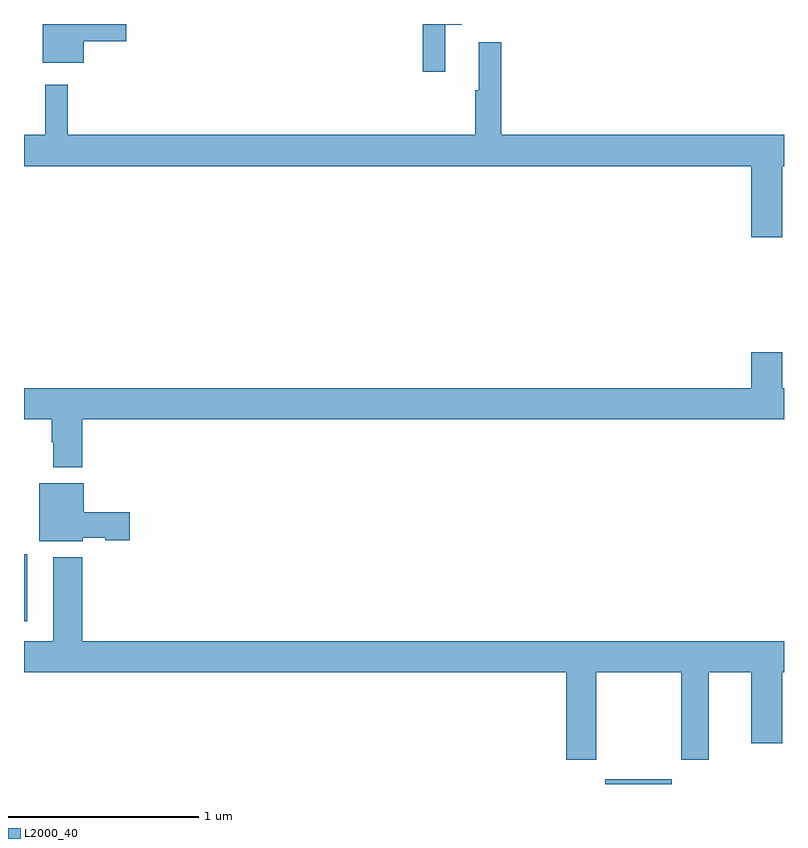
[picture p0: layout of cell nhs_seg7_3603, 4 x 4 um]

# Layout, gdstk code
import gdstk
lib = gdstk.Library(unit=1e-6, precision=1e-09)
def R(c, l, rs):  # rectangles x0, y0, x1, y1
    for r in rs: c.add(gdstk.rectangle(r[:2], r[2:], *l))
def P(c, l, *ps):  # polygons
    for p in ps: c.add(gdstk.Polygon(p, *l))
L2000_40 = (2000, 40)

nhs_seg7_3603 = lib.new_cell('nhs_seg7_3603')
R(nhs_seg7_3603, L2000_40, [(344.06,1028,344.41,1028.026), (341,1028.856,341.017,1029.208)])
P(nhs_seg7_3603, L2000_40, [(341.314,1031.909),(341.539,1031.909),(341.539,1032),(341.099,1032),(341.099,1031.795),(341.314,1031.795)],
  [(343.217,1031.996),(343.303,1031.996),(343.303,1032),(343.099,1032),(343.099,1031.748),(343.217,1031.748)],
  [(344.992,1031.252),(345,1031.252),(345,1031.416),(343.511,1031.416),(343.511,1031.905),(343.394,1031.905),(343.394,1031.652),(343.375,1031.652),(343.375,1031.416),(341.231,1031.416),(341.231,1031.68),(341.113,1031.68),(341.113,1031.416),(341,1031.416),(341,1031.252),(344.828,1031.252),(344.828,1030.878),(344.992,1030.878)],
  [(341.306,1029.92),(345,1029.92),(345,1030.084),(344.992,1030.084),(344.992,1030.273),(344.828,1030.273),(344.828,1030.084),(341,1030.084),(341,1029.92),(341.146,1029.92),(341.146,1029.8),(341.153,1029.8),(341.153,1029.668),(341.306,1029.668)],
  [(341.31,1029.296),(341.427,1029.296),(341.427,1029.284),(341.557,1029.284),(341.557,1029.43),(341.314,1029.43),(341.314,1029.583),(341.081,1029.583),(341.081,1029.278),(341.31,1029.278)],
  [(344.013,1028.588),(344.458,1028.588),(344.458,1028.127),(344.605,1028.127),(344.605,1028.588),(344.828,1028.588),(344.828,1028.214),(344.992,1028.214),(344.992,1028.588),(345,1028.588),(345,1028.752),(341.306,1028.752),(341.306,1029.193),(341.153,1029.193),(341.153,1028.752),(341,1028.752),(341,1028.588),(343.853,1028.588),(343.853,1028.127),(344.013,1028.127)])

lib.write_gds('nhs_seg7_3603.gds')
